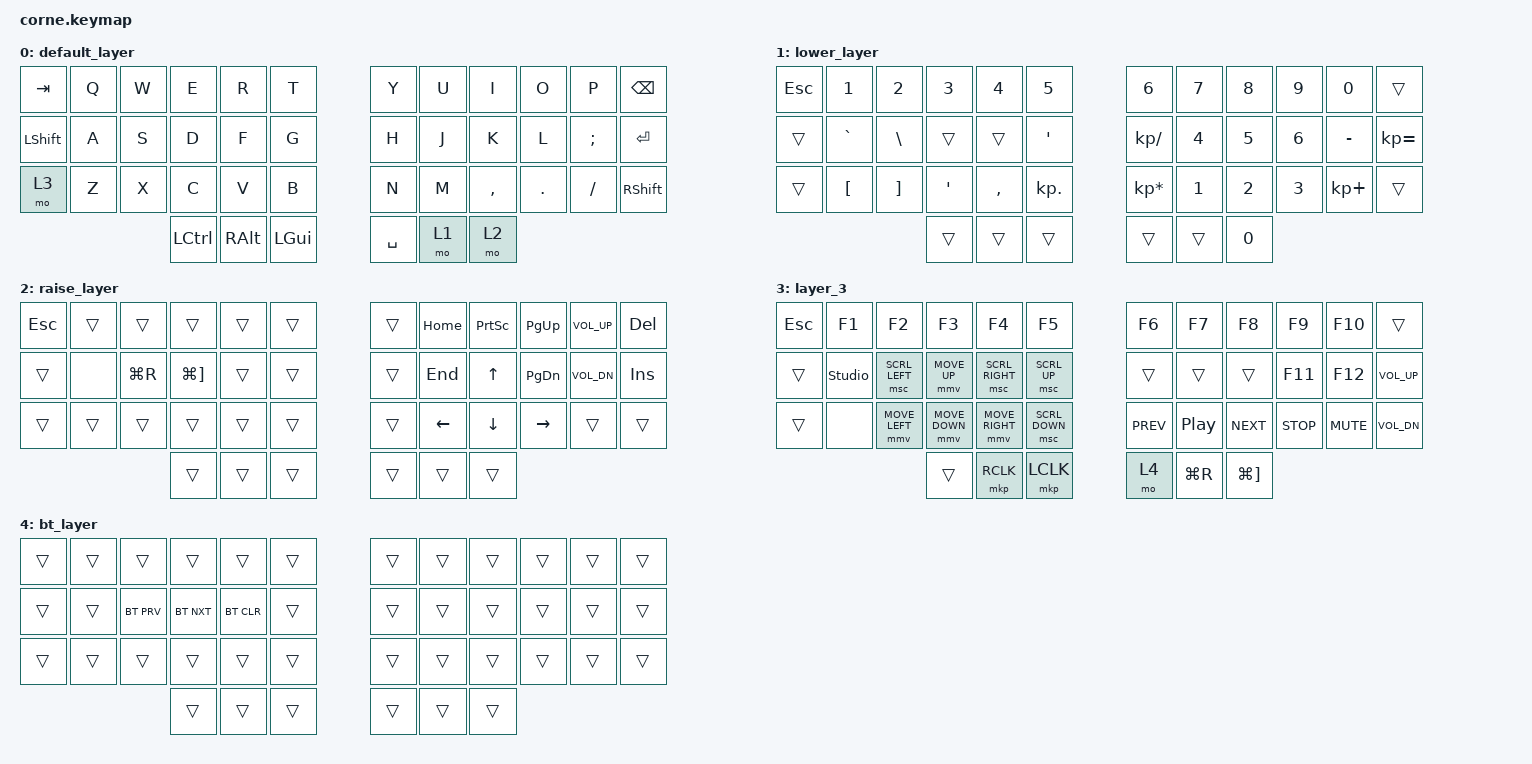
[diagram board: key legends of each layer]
#include <behaviors.dtsi>
#include <dt-bindings/zmk/bt.h>
#include <dt-bindings/zmk/ext_power.h>
#include <dt-bindings/zmk/keys.h>
#include <dt-bindings/zmk/mouse.h>

/ {
    keymap {
        compatible = "zmk,keymap";
        default_layer {
            bindings = <
&kp TAB    &kp Q  &kp W  &kp E  &kp R  &kp T        &kp Y      &kp U  &kp I      &kp O    &kp P     &kp BSPC
&kp LSHFT  &kp A  &kp S  &kp D  &kp F  &kp G        &kp H      &kp J  &kp K      &kp L    &kp SEMI  &kp RET
&mo 3      &kp Z  &kp X  &kp C  &kp V  &kp B        &kp N      &kp M  &kp COMMA  &kp DOT  &kp FSLH  &kp RSHFT
                      &kp LCTRL  &kp RALT  &kp LGUI          &kp SPACE  &mo 1  &mo 2
            >;
        };
        lower_layer {
            bindings = <
&kp ESC    &kp N1  &kp N2  &kp N3   &kp N4    &kp N5              &kp N6           &kp N7  &kp N8  &kp N9        &kp N0     &trans
&trans     &kp GRAVE  &kp BSLH  &trans  &trans  &kp SQT            &kp KP_DIVIDE    &kp N4  &kp N5  &kp N6        &kp MINUS  &kp KP_EQUAL
&trans     &kp LBKT   &kp RBKT  &kp SQT  &kp COMMA  &kp KP_DOT     &kp KP_MULTIPLY  &kp N1  &kp N2  &kp N3        &kp KP_PLUS  &trans
                      &trans  &trans  &trans          &trans  &trans  &kp N0
            >;
        };
        raise_layer {
            bindings = <
&kp ESC  &trans  &trans  &trans  &trans  &trans          &trans  &kp HOME  &kp PSCRN  &kp PG_UP  &kp C_VOL_UP  &kp DEL
&trans   &none   &kp LG(R)  &kp LG(RBKT)  &trans  &trans       &trans  &kp END   &kp UP     &kp PG_DN  &kp C_VOL_DN  &kp INS
&trans   &trans  &trans  &trans  &trans  &trans          &trans  &kp LEFT  &kp DOWN   &kp RIGHT  &trans        &trans
                      &trans  &trans  &trans          &trans  &trans  &trans
            >;
        };
        layer_3 {
            bindings = <
&kp ESC  &kp F1  &kp F2       &kp F3       &kp F4        &kp F5             &kp F6      &kp F7   &kp F8   &kp F9   &kp F10   &trans
&trans   &studio_unlock   &msc SCRL_LEFT  &mmv MOVE_UP  &msc SCRL_RIGHT  &msc SCRL_UP    &trans      &trans   &trans   &kp F11  &kp F12   &kp C_VOL_UP
&trans   &none   &mmv MOVE_LEFT  &mmv MOVE_DOWN  &mmv MOVE_RIGHT  &msc SCRL_DOWN   &kp C_PREV  &kp C_PP  &kp C_NEXT  &kp C_STOP  &kp C_MUTE  &kp C_VOL_DN
                      &trans  &mkp RCLK  &mkp LCLK          &mo 4  &kp LG(R)  &kp LG(RBKT)
            >;
        };
        bt_layer {
            bindings = <
&trans  &trans  &trans      &trans      &trans      &trans        &trans  &trans  &trans  &trans  &trans  &trans
&trans  &trans  &bt BT_PRV  &bt BT_NXT  &bt BT_CLR  &trans        &trans  &trans  &trans  &trans  &trans  &trans
&trans  &trans  &trans      &trans      &trans      &trans        &trans  &trans  &trans  &trans  &trans  &trans
                        &trans  &trans  &trans          &trans  &trans  &trans
            >;
        };
    };
};
